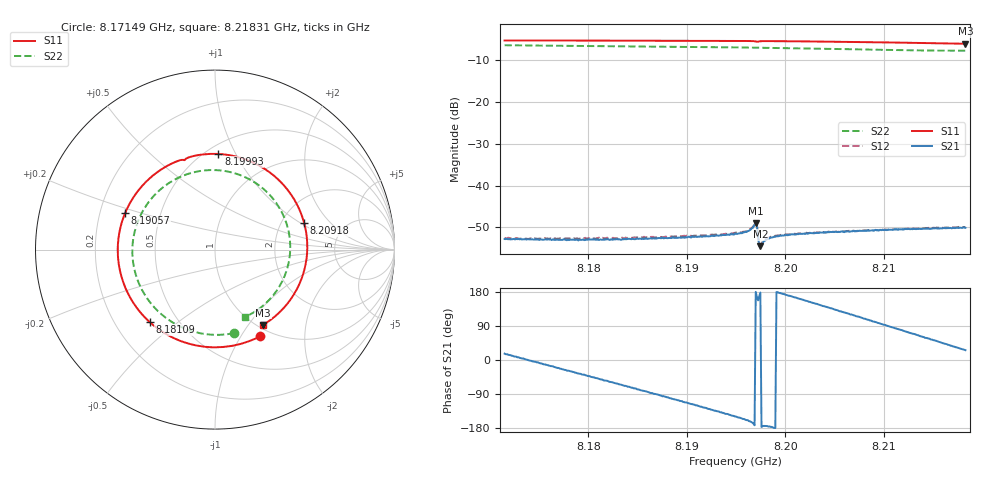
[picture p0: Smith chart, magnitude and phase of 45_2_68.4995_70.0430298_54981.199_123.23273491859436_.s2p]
#  HZ  S  RI  R  50.00
! Rohde & Schwarz Vector Network Analyzer
! Rohde-Schwarz,ZNB20-2Port,1311601062101988,3.16
! Created: UTC 3/20/2024, 5:05:45 PM
! freq[Hz]  re:S11  im:S11  re:S21  im:S21  re:S12  im:S12  re:S22  im:S22
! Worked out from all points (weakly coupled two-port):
!   401 points, 8.17149 GHz to 8.21831 GHz, reference 50 ohm
!   highest |S21| = -49.08 dB at 8.19701 GHz (marker M1); lowest = -54.5 dB at 8.19748 GHz (marker M2)
!   lowest |S11| = -6.1 dB at 8.21831 GHz (marker M3), VSWR 2.98, Z = 52.8 - j58.9 ohm
!   |S11| at or under -10 dB: nowhere
!   |S22| runs from -7.7 to -6.4 dB; largest |S21 - S12| = 0.00017
!   S11 on the Smith chart (normalised r, x): 8.17149 GHz: 0.88, -1.21; 8.18109 GHz: 0.35, -0.40; 8.19057 GHz: 0.31, +0.18; 8.19993 GHz: 0.57, +0.86; 8.20918 GHz: 2.66, +1.07; 8.21831 GHz: 1.06, -1.18
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8.171492e9  0.249 -0.484  0.00219 0.000658  0.00226 0.000677  0.1081 -0.465
8.175471e9  -0.013 -0.5442  0.0022 -0.000451  0.00229 -0.000423  -0.1173 -0.4573
8.179334e9  -0.2664 -0.4741  0.00176 -0.00138  0.00178 -0.00142  -0.307 -0.3528
8.181089e9  -0.3647 -0.4031  0.00143 -0.00171  0.00152 -0.00184  -0.3726 -0.2796
8.184249e9  -0.4929 -0.227  0.000719 -0.00218  0.000712 -0.00227  -0.4467 -0.1207
8.187176e9  -0.5411 -0.0301  -9.15e-05 -0.00236  -0.000152 -0.00243  -0.4579 0.041
8.19057e9  -0.5013 0.2023  -0.0011 -0.0022  -0.00118 -0.00217  -0.3997 0.2192
8.192677e9  -0.4271 0.3295  -0.00168 -0.00184  -0.00178 -0.00186  -0.3286 0.3123
8.1949e9  -0.3137 0.4369  -0.00227 -0.00136  -0.00237 -0.00132  -0.2297 0.3872
8.196071e9  -0.2421 0.4789  -0.00259 -0.00101  -0.0027 -0.000965  -0.1704 0.4147
8.19689e9  -0.1853 0.4997  -0.00335 -0.000455  -0.00342 -0.000329  -0.1263 0.4287
8.197007e9  -0.1764 0.5  -0.00352 2.19e-05  -0.00362 0.000138  -0.1199 0.4303
8.197475e9  -0.1553 0.51  -0.00188 6.55e-05  -0.0019 0.000173  -0.0942 0.4359
8.197592e9  -0.1469 0.5136  -0.00198 -0.000115  -0.00203 -5.87e-05  -0.0876 0.4371
8.198412e9  -0.0886 0.5274  -0.00235 -0.000187  -0.00239 -6.52e-05  -0.0415 0.4423
8.199933e9  0.0191 0.5328  -0.00252 0.000281  -0.00252 0.000437  0.0447 0.4393
8.202742e9  0.211 0.4857  -0.00236 0.0013  -0.0023 0.00136  0.1968 0.3892
8.206137e9  0.3994 0.3396  -0.0016 0.00234  -0.00157 0.00238  0.3426 0.2581
8.20918e9  0.4969 0.1477  -0.000517 0.0029  -0.000463 0.00292  0.4121 0.0921
8.210584e9  0.5131 0.0488  6.73e-05 0.00297  0.000131 0.00297  0.4192 0.0074
8.214213e9  0.4644 -0.2042  0.00159 0.00259  0.00165 0.00262  0.3584 -0.206
8.218309e9  0.2676 -0.4193  0.00281 0.00137  0.0029 0.00133  0.1646 -0.3767
